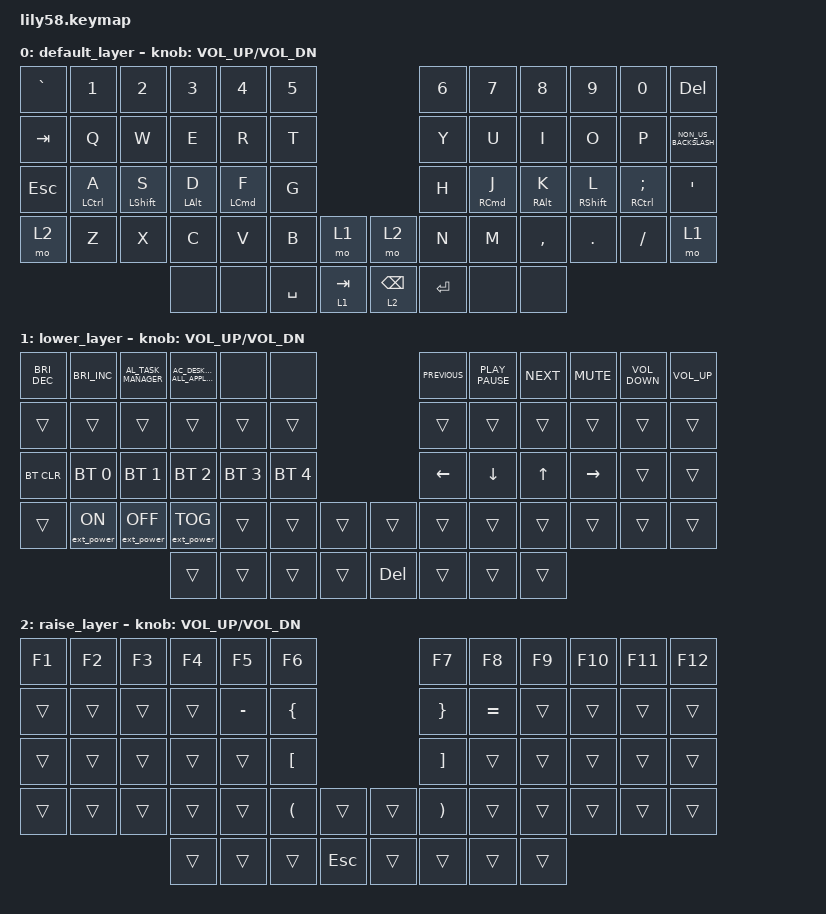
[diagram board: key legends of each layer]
/*
 * Copyright (c) 2020 The ZMK Contributors
 *
 * SPDX-License-Identifier: MIT
 */

#include <behaviors.dtsi>
#include <dt-bindings/zmk/bt.h>
#include <dt-bindings/zmk/ext_power.h>
#include <dt-bindings/zmk/keys.h>

/ {
    behaviors {
        hml: hml {
            compatible = "zmk,behavior-hold-tap";
            label = "HML";
            bindings = <&kp>, <&kp>;

            #binding-cells = <2>;
            flavor = "tap-preferred";
            tapping-term-ms = <200>;
            quick-tap-ms = <175>;
            hold-trigger-key-positions = <15 1 3 0 12 24 36 37 25 13 14 2 26 38 51 52 53 42 41 40 39 27 28 29 17 16 4 5 50 54 55 56 57>;
            hold-trigger-on-release;
        };

        hmr: hmr {
            compatible = "zmk,behavior-hold-tap";
            label = "HMR";
            bindings = <&kp>, <&kp>;

            #binding-cells = <2>;
            flavor = "balanced";
            tapping-term-ms = <200>;
            quick-tap-ms = <175>;
            hold-trigger-on-release;
            hold-trigger-key-positions = <50 51 53 52 6 30 18 43 54 55 44 56 57 49 48 46 45 47 35 34 33 31 32 19 20 22 23 11 10 9 8 7 21>;
        };

        hmlt: hmlt {
            compatible = "zmk,behavior-hold-tap";
            label = "HMLT";
            bindings = <&mo>, <&kp>;

            #binding-cells = <2>;
            flavor = "tap-preferred";
            tapping-term-ms = <200>;
            quick-tap-ms = <175>;
            hold-trigger-key-positions = <15 1 3 0 12 24 36 37 25 13 14 2 26 38 51 52 53 42 41 40 39 27 28 29 17 16 4 5 50 54 55 56 57>;
            hold-trigger-on-release;
        };

        hmrt: hmrt {
            compatible = "zmk,behavior-hold-tap";
            label = "HMRT";
            bindings = <&mo>, <&kp>;

            #binding-cells = <2>;
            flavor = "balanced";
            tapping-term-ms = <200>;
            quick-tap-ms = <175>;
            hold-trigger-on-release;
            hold-trigger-key-positions = <50 51 53 52 6 30 18 43 54 55 44 56 57 49 48 46 45 47 35 34 33 31 32 19 20 22 23 11 10 9 8 7 21>;
        };
    };

    keymap {
        compatible = "zmk,keymap";

        default_layer {
            // ------------------------------------------------------------------------------------------------------------
            // |  ESC  |  1  |  2  |  3   |  4   |  5   |                   |  6   |  7    |  8    |  9   |   0   |   `   |
            // |  TAB  |  Q  |  W  |  E   |  R   |  T   |                   |  Y   |  U    |  I    |  O   |   P   |   -   |
            // |  CTRL |  A  |  S  |  D   |  F   |  G   |                   |  H   |  J    |  K    |  L   |   ;   |   '   |
            // | SHIFT |  Z  |  X  |  C   |  V   |  B   |   "["  |  |  "]"  |  N   |  M    |  ,    |  .   |   /   | SHIFT |
            //                     | ALT  | GUI  | LOWER|  SPACE |  | ENTER | RAISE| BSPC  | GUI   |

            bindings = <
&kp GRAVE  &kp N1        &kp N2             &kp N3           &kp N4               &kp N5                                       &kp N6     &kp N7                &kp N8            &kp N9              &kp N0                &kp DEL
&kp TAB    &kp Q         &kp W              &kp E            &kp R                &kp T                                        &kp Y      &kp U                 &kp I             &kp O               &kp P                 &kp NON_US_BACKSLASH
&kp ESC    &hml LCTRL A  &hml LEFT_SHIFT S  &hml LEFT_ALT D  &hml LEFT_COMMAND F  &kp G                                        &kp H      &hmr RIGHT_COMMAND J  &hmr RIGHT_ALT K  &hmr RIGHT_SHIFT L  &hmr RCTRL SEMICOLON  &kp SQT
&mo 2      &kp Z         &kp X              &kp C            &kp V                &kp B      &mo 1          &mo 2              &kp N      &kp M                 &kp COMMA         &kp DOT             &kp FSLH              &mo 1
                                            &none            &none                &kp SPACE  &hmlt 1 TAB    &hmrt 2 BACKSPACE  &kp ENTER  &none                 &none
            >;

            sensor-bindings = <&inc_dec_kp C_VOL_UP C_VOL_DN>;
        };

        lower_layer {
            // ------------------------------------------------------------------------------------------------------------
            // | BTCLR | BT1 | BT2 |  BT3 |  BT4 |  BT5 |                   |      |       |       |      |       |       |
            // |  F1   |  F2 |  F3 |  F4  |  F5  |  F6  |                   |  F7  |  F8   |  F9   |  F10 |  F11  |  F12  |
            // |   `   |  !  |  @  |  #   |  $   |  %   |                   |  ^   |  &    |  *    |  (   |   )   |   ~   |
            // |       |     |     |      |      |      |        |  |       |      |  _    |  +    |  {   |   }   |  "|"  |
            //                     |      |      |      |        |  |       |      |       |       |

            bindings = <
&kp C_BRIGHTNESS_DEC  &kp C_BRIGHTNESS_INC  &kp C_AL_TASK_MANAGER  &kp C_AC_DESKTOP_SHOW_ALL_APPLICATIONS  &none         &none                               &kp K_PREVIOUS  &kp K_PLAY_PAUSE  &kp K_NEXT    &kp K_MUTE       &kp C_VOLUME_DOWN  &kp C_VOLUME_UP
&trans                &trans                &trans                 &trans                                  &trans        &trans                              &trans          &trans            &trans        &trans           &trans             &trans
&bt BT_CLR            &bt BT_SEL 0          &bt BT_SEL 1           &bt BT_SEL 2                            &bt BT_SEL 3  &bt BT_SEL 4                        &kp LEFT_ARROW  &kp DOWN_ARROW    &kp UP_ARROW  &kp RIGHT_ARROW  &trans             &trans
&trans                &ext_power EP_ON      &ext_power EP_OFF      &ext_power EP_TOG                       &trans        &trans        &trans    &trans      &trans          &trans            &trans        &trans           &trans             &trans
                                                                   &trans                                  &trans        &trans        &trans    &kp DELETE  &trans          &trans            &trans
            >;

            sensor-bindings = <&inc_dec_kp C_VOL_UP C_VOL_DN>;
        };

        raise_layer {
            // ------------------------------------------------------------------------------------------------------------
            // |       |     |     |      |      |      |                   |      |       |       |      |       |       |
            // |   `   |  1  |  2  |  3   |  4   |  5   |                   |  6   |   7   |   8   |  9   |   0   |       |
            // |   F1  |  F2 |  F3 |  F4  |  F5  |  F6  |                   |      |   <-  |   v   |  ^   |  ->   |       |
            // |   F7  |  F8 |  F9 |  F10 |  F11 |  F12 |        |  |       |  +   |   -   |   =   |  [   |   ]   |   \   |
            //                     |      |      |      |        |  |       |      |       |       |

            bindings = <
&kp F1  &kp F2  &kp F3  &kp F4  &kp F5     &kp F6                                      &kp F7                 &kp F8     &kp F9  &kp F10  &kp F11  &kp F12
&trans  &trans  &trans  &trans  &kp MINUS  &kp LEFT_BRACE                              &kp RIGHT_BRACE        &kp EQUAL  &trans  &trans   &trans   &trans
&trans  &trans  &trans  &trans  &trans     &kp LEFT_BRACKET                            &kp RIGHT_BRACKET      &trans     &trans  &trans   &trans   &trans
&trans  &trans  &trans  &trans  &trans     &kp LEFT_PARENTHESIS  &trans        &trans  &kp RIGHT_PARENTHESIS  &trans     &trans  &trans   &trans   &trans
                        &trans  &trans     &trans                &kp ESCAPE    &trans  &trans                 &trans     &trans
            >;

            sensor-bindings = <&inc_dec_kp C_VOL_UP C_VOL_DN>;
        };
    };
};
